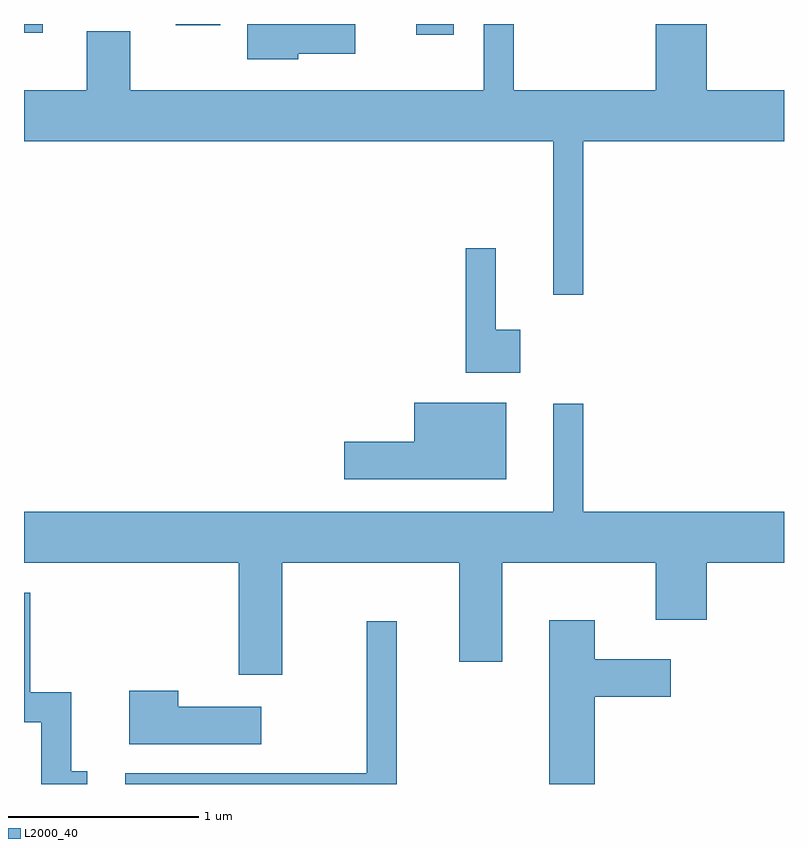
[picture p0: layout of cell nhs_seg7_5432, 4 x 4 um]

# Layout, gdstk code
import gdstk
lib = gdstk.Library(unit=1e-6, precision=1e-09)
def R(c, l, rs):  # rectangles x0, y0, x1, y1
    for r in rs: c.add(gdstk.rectangle(r[:2], r[2:], *l))
def P(c, l, *ps):  # polygons
    for p in ps: c.add(gdstk.Polygon(p, *l))
L2000_40 = (2000, 40)

nhs_seg7_5432 = lib.new_cell('nhs_seg7_5432')
R(nhs_seg7_5432, L2000_40, [(353.676,1728.196,353.874,1728.252), (351.611,1728.206,351.709,1728.252), (352.41,1728.246,352.643,1728.252)])
P(nhs_seg7_5432, L2000_40, [(354.554,1727.636),(355.611,1727.636),(355.611,1727.904),(355.204,1727.904),(355.204,1728.252),(354.936,1728.252),(354.936,1727.904),(354.189,1727.904),(354.189,1728.252),(354.031,1728.252),(354.031,1727.904),(352.169,1727.904),(352.169,1728.214),(351.941,1728.214),(351.941,1727.904),(351.611,1727.904),(351.611,1727.636),(354.396,1727.636),(354.396,1726.828),(354.554,1726.828)],
  [(353.054,1728.096),(353.354,1728.096),(353.354,1728.252),(352.786,1728.252),(352.786,1728.066),(353.054,1728.066)],
  [(354.224,1726.644),(354.094,1726.644),(354.094,1727.073),(353.936,1727.073),(353.936,1726.416),(354.224,1726.416)],
  [(354.149,1726.259),(353.666,1726.259),(353.666,1726.054),(353.296,1726.054),(353.296,1725.856),(354.149,1725.856)],
  [(352.969,1725.416),(353.901,1725.416),(353.901,1724.896),(354.129,1724.896),(354.129,1725.416),(354.936,1725.416),(354.936,1725.116),(355.204,1725.116),(355.204,1725.416),(355.611,1725.416),(355.611,1725.684),(354.554,1725.684),(354.554,1726.253),(354.396,1726.253),(354.396,1725.684),(351.611,1725.684),(351.611,1725.416),(352.741,1725.416),(352.741,1724.826),(352.969,1724.826)],
  [(351.943,1724.319),(351.859,1724.319),(351.859,1724.734),(351.644,1724.734),(351.644,1725.259),(351.611,1725.259),(351.611,1724.576),(351.701,1724.576),(351.701,1724.252),(351.943,1724.252)],
  [(354.614,1724.711),(355.014,1724.711),(355.014,1724.909),(354.614,1724.909),(354.614,1725.114),(354.376,1725.114),(354.376,1724.252),(354.614,1724.252)],
  [(353.574,1725.108),(353.416,1725.108),(353.416,1724.309),(352.143,1724.309),(352.143,1724.252),(353.574,1724.252)],
  [(352.859,1724.659),(352.424,1724.659),(352.424,1724.744),(352.166,1724.744),(352.166,1724.461),(352.859,1724.461)])

lib.write_gds('nhs_seg7_5432.gds')
